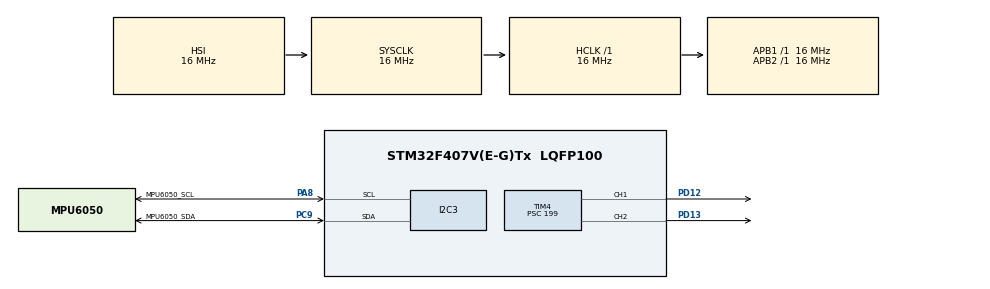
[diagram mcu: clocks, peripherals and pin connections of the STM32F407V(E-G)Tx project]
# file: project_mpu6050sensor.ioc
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Mcu.Family=STM32F4
Mcu.Name=STM32F407V(E-G)Tx
Mcu.Package=LQFP100
NVIC.PriorityGroup=NVIC_PRIORITYGROUP_4
NVIC.TIM4_IRQn=true\:0\:0\:false\:false\:true\:true\:true\:true
PA8.GPIO_Label=MPU6050_SCL
PA8.GPIO_Pu=GPIO_NOPULL
PA8.GPIO_Speed=GPIO_SPEED_FREQ_HIGH
PA8.Mode=I2C
PA8.Signal=I2C3_SCL
PC9.GPIO_Label=MPU6050_SDA
PC9.GPIO_Pu=GPIO_NOPULL
PC9.GPIO_Speed=GPIO_SPEED_FREQ_HIGH
PC9.Mode=I2C
PC9.Signal=I2C3_SDA
PD12.Signal=S_TIM4_CH1
PD13.Signal=S_TIM4_CH2
ProjectManager.HeapSize=0x200
ProjectManager.StackSize=0x400
ProjectManager.TargetToolchain=STM32CubeIDE
RCC.AHBFreq_Value=16000000
RCC.APB1Freq_Value=16000000
RCC.APB2Freq_Value=16000000
RCC.CortexFreq_Value=16000000
RCC.HSE_VALUE=25000000
RCC.HSI_VALUE=16000000
RCC.SYSCLKFreq_VALUE=16000000
RCC.VCOOutputFreq_Value=192000000
SH.S_TIM4_CH1.0=TIM4_CH1,PWM Generation1 CH1
SH.S_TIM4_CH2.0=TIM4_CH2,PWM Generation2 CH2
TIM4.Channel-PWM\ Generation1\ CH1=TIM_CHANNEL_1
TIM4.Channel-PWM\ Generation2\ CH2=TIM_CHANNEL_2
TIM4.Period=39999
TIM4.Prescaler=199
TIM4.Pulse-PWM\ Generation1\ CH1=32000
TIM4.Pulse-PWM\ Generation2\ CH2=16000
TIM4.TIM_MasterOutputTrigger=TIM_TRGO_UPDATE
VP_TIM4_VS_ClockSourceINT.Mode=Internal
board=custom

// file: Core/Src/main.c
/* USER CODE BEGIN Header */
/**
  ******************************************************************************
  * @file           : main.c
  * @brief          : Main program body
  ******************************************************************************
  * @attention
  *
  * Copyright (c) 2025 STMicroelectronics.
  * All rights reserved.
  *
  * This software is licensed under terms that can be found in the LICENSE file
  * in the root directory of this software component.
  * If no LICENSE file comes with this software, it is provided AS-IS.
  *
  ******************************************************************************
  */
/* USER CODE END Header */
#include "main.h"

/* USER CODE BEGIN Includes */
#include "mpu6050.h"
#include <math.h>
#include "kalman_filter.h"
/* USER CODE END Includes */

I2C_HandleTypeDef hi2c3;

TIM_HandleTypeDef htim4;

/* USER CODE BEGIN PV */
//variables for cube monitor
uint32_t g_counter = 0;
uint32_t g_channel_1_state = 32000;
uint32_t g_channel_2_state = 16000;

float roll_angle;
float kalman_roll_angle;
float dt;

mpu6050_accel_data_t g_accel_data;
const mpu6050_accel_data_t error_offset ={
	.x = 250,
	.y = -200,
	.z = 156
};

/* USER CODE END PV */

void SystemClock_Config(void);
static void MX_GPIO_Init(void);
static void MX_TIM4_Init(void);
static void MX_I2C3_Init(void);

/* USER CODE BEGIN 0 */

#define PWM_PULSE_MIN 0
#define PWM_PULSE_MAX  40

#define ANGLE_POS_MIN 0
#define ANGLE_POS_MAX 90

// Map function: re-maps a number from one range to another
long map(long x, long in_min, long in_max, long out_min, long out_max) {
    // Perform  mapping
    long result = (x - in_min) * (out_max - out_min) / (in_max - in_min) + out_min;

    // Clamp the result to the output range
    if (result > out_max) {
        result = out_max;
    } else if (result < out_min) {
        result = out_min;
    }

    return result;
}

void change_pwm_duty_cycle(uint32_t pwm_pulse, uint8_t timer_channel) {
	__HAL_TIM_SET_COMPARE(&htim4, timer_channel, pwm_pulse);
}

void init_cycle_counter(void) {
    // Enable DWT (Data Watchpoint and Trace)
    CoreDebug->DEMCR |= CoreDebug_DEMCR_TRCENA_Msk;
    // Reset cycle counter
    DWT->CYCCNT = 0;
    // Enable cycle counter
    DWT->CTRL |= DWT_CTRL_CYCCNTENA_Msk;
}

// Function to get the current cycle count
uint32_t get_cycle_count(void) {
    return DWT->CYCCNT;
}
/* USER CODE END 0 */

int main(void)
{

  /* MCU Configuration--------------------------------------------------------*/

  /* Reset of all peripherals, Initializes the Flash interface and the Systick. */
  HAL_Init();

  /* Configure the system clock */
  SystemClock_Config();

  /* Initialize all configured peripherals */
  MX_GPIO_Init();
  MX_TIM4_Init();
  MX_I2C3_Init();
  /* USER CODE BEGIN 2 */
  KalmanFilter kf;
  kalman_filter_init(&kf);

  if(mpu6050_init(&hi2c3, MPU6050_I2C_ADDR) != MPU6050_OK){
	  Error_Handler();
  }

  if (mpu6050_configure_lpf(&hi2c3,DLPF_CFG_21HZ) != MPU6050_OK) {
 	  Error_Handler();
   }

  __HAL_TIM_ENABLE_IT(&htim4, TIM_IT_UPDATE);

  if(HAL_TIM_PWM_Start_IT(&htim4, TIM_CHANNEL_1)!= HAL_OK){
	  Error_Handler();
  }

  if(HAL_TIM_PWM_Start_IT(&htim4, TIM_CHANNEL_2)!= HAL_OK){
  	  Error_Handler();
    }

  uint32_t previous_tick = HAL_GetTick();
  /* USER CODE END 2 */

  /* Infinite loop */
  /* USER CODE BEGIN WHILE */
  while (1)
  {
	  uint32_t current_tick = HAL_GetTick();
	  dt = (current_tick - previous_tick) / 1000.0f;
	  previous_tick = current_tick;

#ifdef PWM_DEBUG
	g_counter = __HAL_TIM_GET_COUNTER(&htim4);
#endif

	if(mpu6050_read_accelerometer_data(&hi2c3, MPU6050_I2C_ADDR, &g_accel_data) != MPU6050_OK){
		Error_Handler();
	}

	g_accel_data = mpu6050_accel_calibration(&error_offset, &g_accel_data);

	roll_angle = atan2(g_accel_data.y, g_accel_data.z)* (180.0/M_PI);

	kalman_roll_angle = (int16_t)kalman_filter_get_angle(&kf, roll_angle, dt);

	uint8_t channel = (kalman_roll_angle < 0) ? TIM_CHANNEL_1 : TIM_CHANNEL_2;

	kalman_roll_angle = (kalman_roll_angle < 0) ? -kalman_roll_angle : kalman_roll_angle;

	uint32_t pwm_pulse = map(kalman_roll_angle, ANGLE_POS_MIN, ANGLE_POS_MAX, PWM_PULSE_MIN, PWM_PULSE_MAX);

	change_pwm_duty_cycle(pwm_pulse, channel);
	//HAL_Delay(500);
    /* USER CODE END WHILE */

  }
}

void SystemClock_Config(void)
{
  RCC_OscInitTypeDef RCC_OscInitStruct = {0};
  RCC_ClkInitTypeDef RCC_ClkInitStruct = {0};

  /** Configure the main internal regulator output voltage
  */
  __HAL_RCC_PWR_CLK_ENABLE();
  __HAL_PWR_VOLTAGESCALING_CONFIG(PWR_REGULATOR_VOLTAGE_SCALE1);

  /** Initializes the RCC Oscillators according to the specified parameters
  * in the RCC_OscInitTypeDef structure.
  */
  RCC_OscInitStruct.OscillatorType = RCC_OSCILLATORTYPE_HSI;
  RCC_OscInitStruct.HSIState = RCC_HSI_ON;
  RCC_OscInitStruct.HSICalibrationValue = RCC_HSICALIBRATION_DEFAULT;
  RCC_OscInitStruct.PLL.PLLState = RCC_PLL_NONE;
  if (HAL_RCC_OscConfig(&RCC_OscInitStruct) != HAL_OK)
  {
    Error_Handler();
  }

  /** Initializes the CPU, AHB and APB buses clocks
  */
  RCC_ClkInitStruct.ClockType = RCC_CLOCKTYPE_HCLK|RCC_CLOCKTYPE_SYSCLK
                              |RCC_CLOCKTYPE_PCLK1|RCC_CLOCKTYPE_PCLK2;
  RCC_ClkInitStruct.SYSCLKSource = RCC_SYSCLKSOURCE_HSI;
  RCC_ClkInitStruct.AHBCLKDivider = RCC_SYSCLK_DIV1;
  RCC_ClkInitStruct.APB1CLKDivider = RCC_HCLK_DIV1;
  RCC_ClkInitStruct.APB2CLKDivider = RCC_HCLK_DIV1;

  if (HAL_RCC_ClockConfig(&RCC_ClkInitStruct, FLASH_LATENCY_0) != HAL_OK)
  {
    Error_Handler();
  }
}

static void MX_I2C3_Init(void)
{

  hi2c3.Instance = I2C3;
  hi2c3.Init.ClockSpeed = 100000;
  hi2c3.Init.DutyCycle = I2C_DUTYCYCLE_2;
  hi2c3.Init.OwnAddress1 = 0;
  hi2c3.Init.AddressingMode = I2C_ADDRESSINGMODE_7BIT;
  hi2c3.Init.DualAddressMode = I2C_DUALADDRESS_DISABLE;
  hi2c3.Init.OwnAddress2 = 0;
  hi2c3.Init.GeneralCallMode = I2C_GENERALCALL_DISABLE;
  hi2c3.Init.NoStretchMode = I2C_NOSTRETCH_DISABLE;
  if (HAL_I2C_Init(&hi2c3) != HAL_OK)
  {
    Error_Handler();
  }

}

static void MX_TIM4_Init(void)
{

  TIM_ClockConfigTypeDef sClockSourceConfig = {0};
  TIM_MasterConfigTypeDef sMasterConfig = {0};
  TIM_OC_InitTypeDef sConfigOC = {0};

  htim4.Instance = TIM4;
  htim4.Init.Prescaler = 199;
  htim4.Init.CounterMode = TIM_COUNTERMODE_UP;
  htim4.Init.Period = 39999;
  htim4.Init.ClockDivision = TIM_CLOCKDIVISION_DIV1;
  htim4.Init.AutoReloadPreload = TIM_AUTORELOAD_PRELOAD_DISABLE;
  if (HAL_TIM_Base_Init(&htim4) != HAL_OK)
  {
    Error_Handler();
  }
  sClockSourceConfig.ClockSource = TIM_CLOCKSOURCE_INTERNAL;
  if (HAL_TIM_ConfigClockSource(&htim4, &sClockSourceConfig) != HAL_OK)
  {
    Error_Handler();
  }
  if (HAL_TIM_PWM_Init(&htim4) != HAL_OK)
  {
    Error_Handler();
  }
  sMasterConfig.MasterOutputTrigger = TIM_TRGO_UPDATE;
  sMasterConfig.MasterSlaveMode = TIM_MASTERSLAVEMODE_DISABLE;
  if (HAL_TIMEx_MasterConfigSynchronization(&htim4, &sMasterConfig) != HAL_OK)
  {
    Error_Handler();
  }
  sConfigOC.OCMode = TIM_OCMODE_PWM1;
  sConfigOC.Pulse = 32000;
  sConfigOC.OCPolarity = TIM_OCPOLARITY_HIGH;
  sConfigOC.OCFastMode = TIM_OCFAST_DISABLE;
  if (HAL_TIM_PWM_ConfigChannel(&htim4, &sConfigOC, TIM_CHANNEL_1) != HAL_OK)
  {
    Error_Handler();
  }
  sConfigOC.Pulse = 16000;
  if (HAL_TIM_PWM_ConfigChannel(&htim4, &sConfigOC, TIM_CHANNEL_2) != HAL_OK)
  {
    Error_Handler();
  }
  HAL_TIM_MspPostInit(&htim4);

}

static void MX_GPIO_Init(void)
{

  /* GPIO Ports Clock Enable */
  __HAL_RCC_GPIOD_CLK_ENABLE();
  __HAL_RCC_GPIOC_CLK_ENABLE();
  __HAL_RCC_GPIOA_CLK_ENABLE();

}

void Error_Handler(void)
{
  __disable_irq();
  while (1)
  {
  }
}
